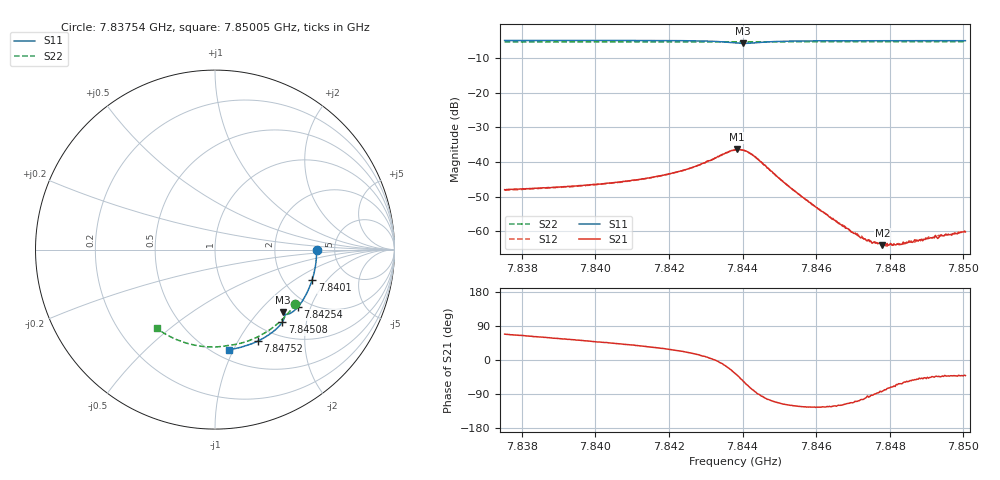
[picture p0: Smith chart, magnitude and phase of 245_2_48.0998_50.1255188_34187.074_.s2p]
#  HZ  S  RI  R  50.00
! Rohde & Schwarz Vector Network Analyzer
! Rohde-Schwarz,ZNB20-2Port,1311601062101988,3.16
! Created: UTC 12/23/2023, 3:59:11 AM
! freq[Hz]  re:S11  im:S11  re:S21  im:S21  re:S12  im:S12  re:S22  im:S22
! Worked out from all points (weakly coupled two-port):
!   401 points, 7.83754 GHz to 7.85005 GHz, reference 50 ohm
!   highest |S21| = -36.32 dB at 7.84386 GHz (marker M1); lowest = -64.0 dB at 7.8478 GHz (marker M2)
!   lowest |S11| = -5.8 dB at 7.84401 GHz (marker M3), VSWR 3.12, Z = 72 - j68.6 ohm
!   |S11| at or under -10 dB: nowhere
!   |S22| runs from -5.4 to -5.3 dB; largest |S21 - S12| = 0.0003
!   S11 on the Smith chart (normalised r, x): 7.83754 GHz: 3.61, +0.00; 7.8401 GHz: 2.84, -1.41; 7.84254 GHz: 1.75, -1.63; 7.84508 GHz: 1.25, -1.46; 7.84752 GHz: 0.82, -1.22; 7.85005 GHz: 0.59, -0.96
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7.837538e9  0.5665 0.0003  0.00148 0.00372  0.00148 0.00366  0.4475 -0.3019
7.839634e9  0.5499 -0.1383  0.00285 0.0036  0.00283 0.00357  0.3503 -0.4117
7.840104e9  0.5412 -0.1686  0.00325 0.00356  0.00322 0.00352  0.3246 -0.4322
7.84173e9  0.4962 -0.2709  0.00538 0.00331  0.00532 0.00329  0.2272 -0.4912
7.842544e9  0.4623 -0.3193  0.00759 0.00271  0.00757 0.00273  0.1742 -0.5126
7.843295e9  0.4163 -0.3565  0.0116 -0.000406  0.0116 -0.00033  0.1229 -0.5265
7.843607e9  0.3919 -0.3613  0.0131 -0.00477  0.0131 -0.00473  0.102 -0.5299
7.843795e9  0.3805 -0.3573  0.0122 -0.00872  0.0124 -0.00846  0.0895 -0.5315
7.843858e9  0.3781 -0.3551  0.0116 -0.00994  0.0116 -0.00988  0.0854 -0.5321
7.844014e9  0.3771 -0.3501  0.00839 -0.0123  0.00854 -0.0122  0.0755 -0.5336
7.844139e9  0.3802 -0.3491  0.00553 -0.0129  0.0056 -0.0129  0.0679 -0.5348
7.844358e9  0.3865 -0.3564  0.00107 -0.0116  0.00107 -0.0117  0.0536 -0.5376
7.845078e9  0.3742 -0.405  -0.0023 -0.00482  -0.0023 -0.00489  0.00334 -0.5425
7.845891e9  0.3343 -0.4487  -0.0014 -0.00203  -0.00136 -0.00201  -0.0541 -0.5408
7.846955e9  0.2741 -0.491  -0.000377 -0.000906  -0.000383 -0.000907  -0.1279 -0.529
7.847236e9  0.2573 -0.5002  -0.000198 -0.000796  -0.000203 -0.000831  -0.1472 -0.5242
7.847518e9  0.2402 -0.509  -3.8e-05 -0.000675  -2.17e-05 -0.000688  -0.1661 -0.5187
7.847799e9  0.2229 -0.5169  8.74e-05 -0.000625  8.67e-05 -0.00068  -0.1849 -0.5125
7.847987e9  0.2112 -0.5217  0.00018 -0.000616  0.000216 -0.000619  -0.1975 -0.508
7.848269e9  0.1938 -0.5286  0.000301 -0.000583  0.000293 -0.00057  -0.2157 -0.5005
7.849458e9  0.1175 -0.5505  0.000626 -0.000592  0.000661 -0.000575  -0.2897 -0.4625
7.850052e9  0.0783 -0.5571  0.000742 -0.000649  0.000762 -0.000694  -0.3242 -0.4393
